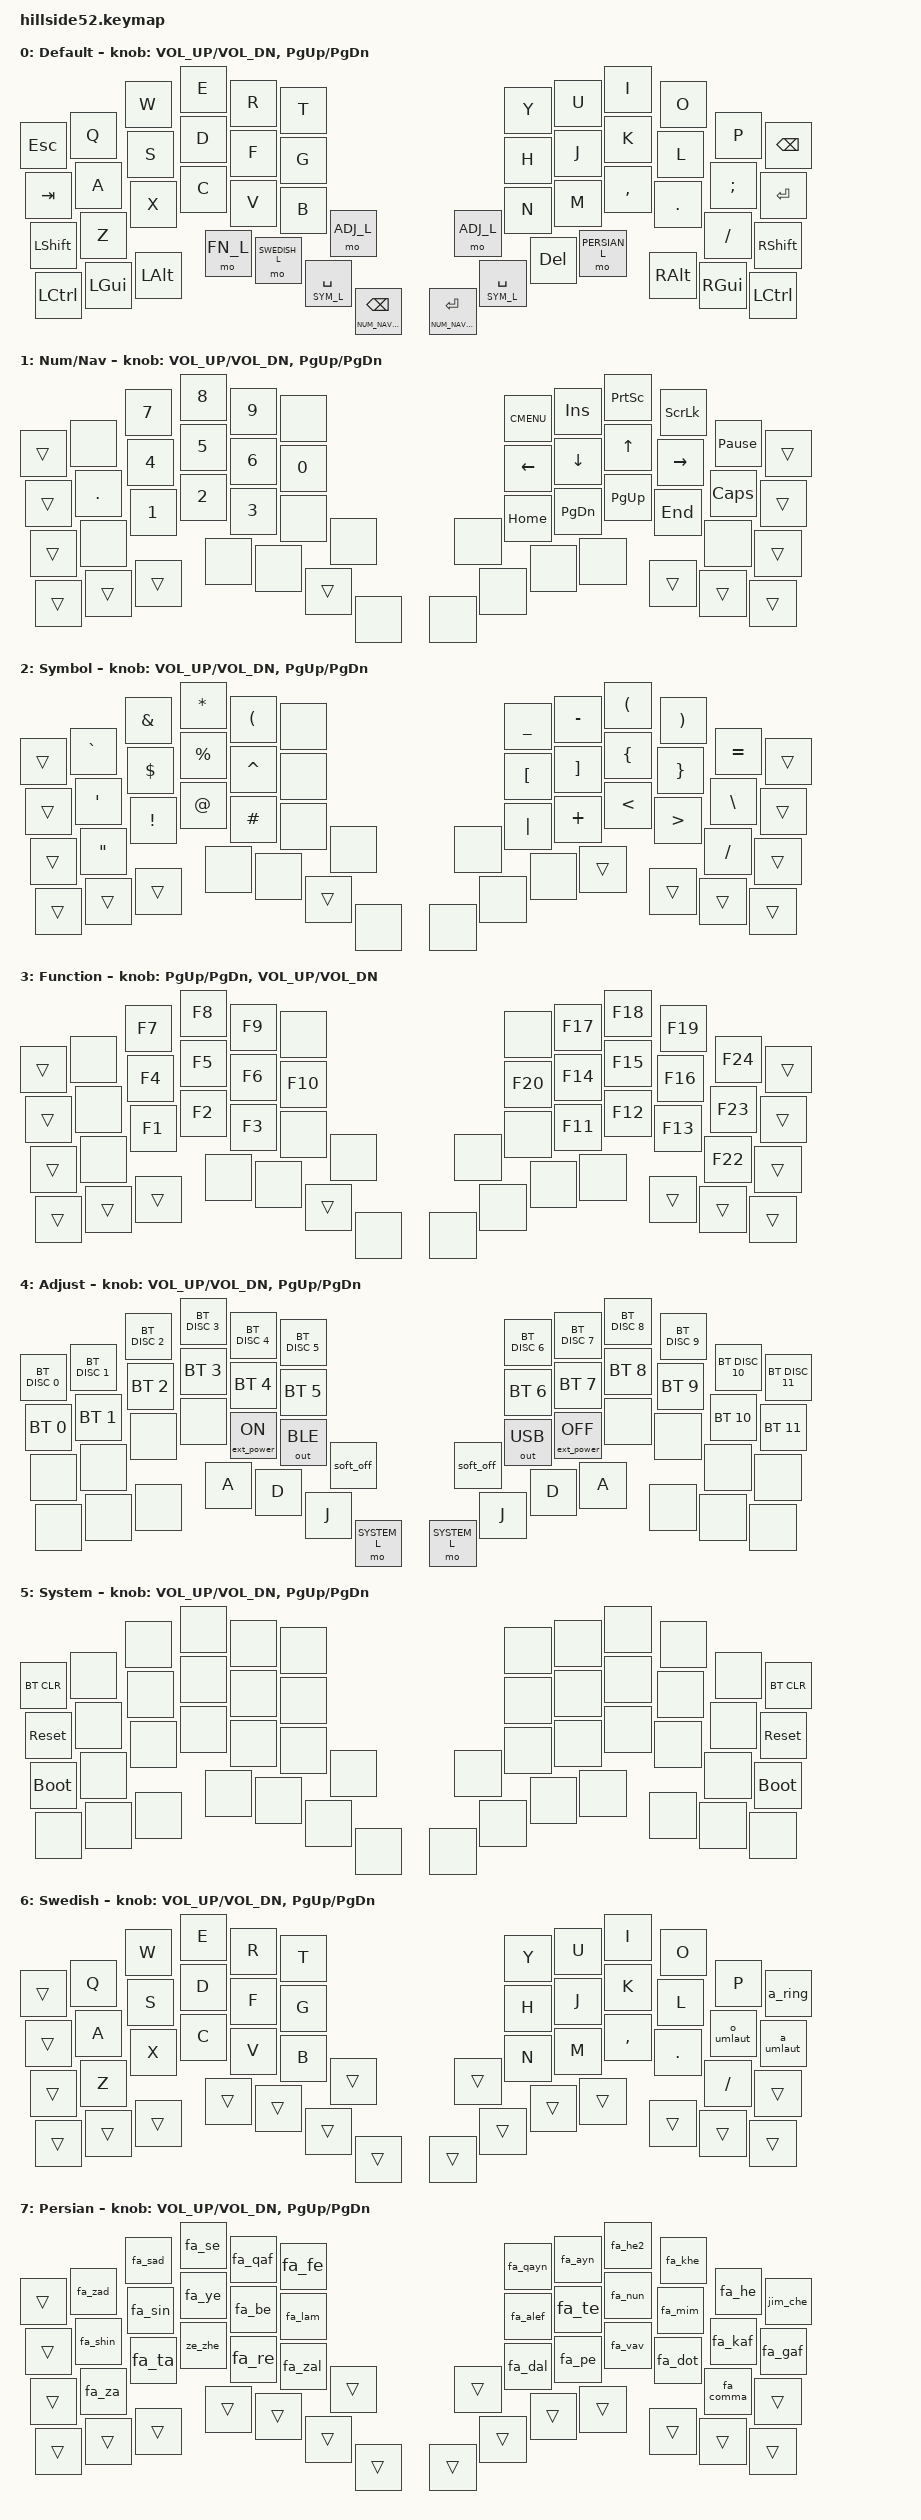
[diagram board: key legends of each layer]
/*
 * Copyright (c) 2021-2022 The ZMK Contributors
 *
 * SPDX-License-Identifier: MIT
 */

#include <behaviors.dtsi>
#include <dt-bindings/zmk/bt.h>
#include <dt-bindings/zmk/ext_power.h>
#include <dt-bindings/zmk/keys.h>
#include <dt-bindings/zmk/outputs.h>
#include <dt-bindings/zmk/backlight.h>
#include <dt-bindings/zmk/rgb.h>

#define DEFAULT_L 0
#define NUM_NAV_L 1
#define SYM_L     2
#define FN_L      3
#define ADJ_L     4
#define SYSTEM_L  5
#define SWEDISH_L 6
#define PERSIAN_L 7

// Define Swedish characters using macros
/ {
    macros {
        a_ring: a_ring {
            compatible = "zmk,behavior-macro";
            #binding-cells = <0>;
            wait-ms = <40>;
            tap-ms = <40>;
            bindings
                = <&macro_press   &kp LALT>
                , <&macro_tap     &kp KP_N0 &kp KP_N2 &kp KP_N2 &kp KP_N9>
                , <&macro_release &kp LALT>
                ;
        };
        a_umlaut: a_umlaut {
            compatible = "zmk,behavior-macro";
            #binding-cells = <0>;
            wait-ms = <40>;
            tap-ms = <40>;
            bindings
                = <&macro_press   &kp LALT>
                , <&macro_tap     &kp KP_N0 &kp KP_N2 &kp KP_N2 &kp KP_N8>
                , <&macro_release &kp LALT>
                ;
        };
        o_umlaut: o_umlaut {
            compatible = "zmk,behavior-macro";
            #binding-cells = <0>;
            wait-ms = <40>;
            tap-ms = <40>;
            bindings
                = <&macro_press   &kp LALT>
                , <&macro_tap     &kp KP_N0 &kp KP_N2 &kp KP_N4 &kp KP_N6>
                , <&macro_release &kp LALT>
                ;
        };

        // Persian characters using macros
        fa_alef: fa_alef {
            compatible = "zmk,behavior-macro";
            #binding-cells = <0>;
            wait-ms = <40>;
            tap-ms = <40>;
            bindings
                = <&macro_press   &kp LALT>
                , <&macro_tap     &kp KP_N1 &kp KP_N5 &kp KP_N7 &kp KP_N5>
                , <&macro_release &kp LALT>
                ;
        };
        fa_be: fa_be {
            compatible = "zmk,behavior-macro";
            #binding-cells = <0>;
            wait-ms = <40>;
            tap-ms = <40>;
            bindings
                = <&macro_press   &kp LALT>
                , <&macro_tap     &kp KP_N1 &kp KP_N5 &kp KP_N7 &kp KP_N6>
                , <&macro_release &kp LALT>
                ;
        };
        fa_pe: fa_pe {
            compatible = "zmk,behavior-macro";
            #binding-cells = <0>;
            wait-ms = <40>;
            tap-ms = <40>;
            bindings
                = <&macro_press   &kp LALT>
                , <&macro_tap     &kp KP_N1 &kp KP_N6 &kp KP_N6 &kp KP_N2>
                , <&macro_release &kp LALT>
                ;
        };
        fa_te: fa_te {
            compatible = "zmk,behavior-macro";
            #binding-cells = <0>;
            wait-ms = <40>;
            tap-ms = <40>;
            bindings
                = <&macro_press   &kp LALT>
                , <&macro_tap     &kp KP_N1 &kp KP_N5 &kp KP_N7 &kp KP_N8>
                , <&macro_release &kp LALT>
                ;
        };
        fa_se: fa_se {
            compatible = "zmk,behavior-macro";
            #binding-cells = <0>;
            wait-ms = <40>;
            tap-ms = <40>;
            bindings
                = <&macro_press   &kp LALT>
                , <&macro_tap     &kp KP_N1 &kp KP_N5 &kp KP_N7 &kp KP_N9>
                , <&macro_release &kp LALT>
                ;
        };
        fa_jim: fa_jim {
            compatible = "zmk,behavior-macro";
            #binding-cells = <0>;
            wait-ms = <40>;
            tap-ms = <40>;
            bindings
                = <&macro_press   &kp LALT>
                , <&macro_tap     &kp KP_N1 &kp KP_N5 &kp KP_N8 &kp KP_N0>
                , <&macro_release &kp LALT>
                ;
        };
        fa_che: fa_che {
            compatible = "zmk,behavior-macro";
            #binding-cells = <0>;
            wait-ms = <40>;
            tap-ms = <40>;
            bindings
                = <&macro_press   &kp LALT>
                , <&macro_tap     &kp KP_N1 &kp KP_N6 &kp KP_N6 &kp KP_N6>
                , <&macro_release &kp LALT>
                ;
        };
        fa_he: fa_he {
            compatible = "zmk,behavior-macro";
            #binding-cells = <0>;
            wait-ms = <40>;
            tap-ms = <40>;
            bindings
                = <&macro_press   &kp LALT>
                , <&macro_tap     &kp KP_N1 &kp KP_N5 &kp KP_N8 &kp KP_N1>
                , <&macro_release &kp LALT>
                ;
        };
        fa_khe: fa_khe {
            compatible = "zmk,behavior-macro";
            #binding-cells = <0>;
            wait-ms = <40>;
            tap-ms = <40>;
            bindings
                = <&macro_press   &kp LALT>
                , <&macro_tap     &kp KP_N1 &kp KP_N5 &kp KP_N8 &kp KP_N2>
                , <&macro_release &kp LALT>
                ;
        };
        fa_dal: fa_dal {
            compatible = "zmk,behavior-macro";
            #binding-cells = <0>;
            wait-ms = <40>;
            tap-ms = <40>;
            bindings
                = <&macro_press   &kp LALT>
                , <&macro_tap     &kp KP_N1 &kp KP_N5 &kp KP_N8 &kp KP_N3>
                , <&macro_release &kp LALT>
                ;
        };
        fa_zal: fa_zal {
            compatible = "zmk,behavior-macro";
            #binding-cells = <0>;
            wait-ms = <40>;
            tap-ms = <40>;
            bindings
                = <&macro_press   &kp LALT>
                , <&macro_tap     &kp KP_N1 &kp KP_N5 &kp KP_N8 &kp KP_N4>
                , <&macro_release &kp LALT>
                ;
        };
        fa_re: fa_re {
            compatible = "zmk,behavior-macro";
            #binding-cells = <0>;
            wait-ms = <40>;
            tap-ms = <40>;
            bindings
                = <&macro_press   &kp LALT>
                , <&macro_tap     &kp KP_N1 &kp KP_N5 &kp KP_N8 &kp KP_N5>
                , <&macro_release &kp LALT>
                ;
        };
        fa_ze: fa_ze {
            compatible = "zmk,behavior-macro";
            #binding-cells = <0>;
            wait-ms = <40>;
            tap-ms = <40>;
            bindings
                = <&macro_press   &kp LALT>
                , <&macro_tap     &kp KP_N1 &kp KP_N5 &kp KP_N8 &kp KP_N6>
                , <&macro_release &kp LALT>
                ;
        };
        fa_zhe: fa_zhe {
            compatible = "zmk,behavior-macro";
            #binding-cells = <0>;
            wait-ms = <40>;
            tap-ms = <40>;
            bindings
                = <&macro_press   &kp LALT>
                , <&macro_tap     &kp KP_N1 &kp KP_N6 &kp KP_N8 &kp KP_N8>
                , <&macro_release &kp LALT>
                ;
        };
        fa_sin: fa_sin {
            compatible = "zmk,behavior-macro";
            #binding-cells = <0>;
            wait-ms = <40>;
            tap-ms = <40>;
            bindings
                = <&macro_press   &kp LALT>
                , <&macro_tap     &kp KP_N1 &kp KP_N5 &kp KP_N8 &kp KP_N7>
                , <&macro_release &kp LALT>
                ;
        };
        fa_shin: fa_shin {
            compatible = "zmk,behavior-macro";
            #binding-cells = <0>;
            wait-ms = <40>;
            tap-ms = <40>;
            bindings
                = <&macro_press   &kp LALT>
                , <&macro_tap     &kp KP_N1 &kp KP_N5 &kp KP_N8 &kp KP_N8>
                , <&macro_release &kp LALT>
                ;
        };
        fa_sad: fa_sad {
            compatible = "zmk,behavior-macro";
            #binding-cells = <0>;
            wait-ms = <40>;
            tap-ms = <40>;
            bindings
                = <&macro_press   &kp LALT>
                , <&macro_tap     &kp KP_N1 &kp KP_N5 &kp KP_N8 &kp KP_N9>
                , <&macro_release &kp LALT>
                ;
        };
        fa_zad: fa_zad {
            compatible = "zmk,behavior-macro";
            #binding-cells = <0>;
            wait-ms = <40>;
            tap-ms = <40>;
            bindings
                = <&macro_press   &kp LALT>
                , <&macro_tap     &kp KP_N1 &kp KP_N5 &kp KP_N9 &kp KP_N0>
                , <&macro_release &kp LALT>
                ;
        };
        fa_ta: fa_ta {
            compatible = "zmk,behavior-macro";
            #binding-cells = <0>;
            wait-ms = <40>;
            tap-ms = <40>;
            bindings
                = <&macro_press   &kp LALT>
                , <&macro_tap     &kp KP_N1 &kp KP_N5 &kp KP_N9 &kp KP_N1>
                , <&macro_release &kp LALT>
                ;
        };
        fa_za: fa_za {
            compatible = "zmk,behavior-macro";
            #binding-cells = <0>;
            wait-ms = <40>;
            tap-ms = <40>;
            bindings
                = <&macro_press   &kp LALT>
                , <&macro_tap     &kp KP_N1 &kp KP_N5 &kp KP_N9 &kp KP_N2>
                , <&macro_release &kp LALT>
                ;
        };
        fa_ayn: fa_ayn {
            compatible = "zmk,behavior-macro";
            #binding-cells = <0>;
            wait-ms = <40>;
            tap-ms = <40>;
            bindings
                = <&macro_press   &kp LALT>
                , <&macro_tap     &kp KP_N1 &kp KP_N5 &kp KP_N9 &kp KP_N3>
                , <&macro_release &kp LALT>
                ;
        };
        fa_qayn: fa_qayn {
            compatible = "zmk,behavior-macro";
            #binding-cells = <0>;
            wait-ms = <40>;
            tap-ms = <40>;
            bindings
                = <&macro_press   &kp LALT>
                , <&macro_tap     &kp KP_N1 &kp KP_N5 &kp KP_N9 &kp KP_N4>
                , <&macro_release &kp LALT>
                ;
        };
        fa_fe: fa_fe {
            compatible = "zmk,behavior-macro";
            #binding-cells = <0>;
            wait-ms = <40>;
            tap-ms = <40>;
            bindings
                = <&macro_press   &kp LALT>
                , <&macro_tap     &kp KP_N1 &kp KP_N6 &kp KP_N0 &kp KP_N1>
                , <&macro_release &kp LALT>
                ;
        };
        fa_qaf: fa_qaf {
            compatible = "zmk,behavior-macro";
            #binding-cells = <0>;
            wait-ms = <40>;
            tap-ms = <40>;
            bindings
                = <&macro_press   &kp LALT>
                , <&macro_tap     &kp KP_N1 &kp KP_N6 &kp KP_N0 &kp KP_N2>
                , <&macro_release &kp LALT>
                ;
        };
        fa_kaf: fa_kaf {
            compatible = "zmk,behavior-macro";
            #binding-cells = <0>;
            wait-ms = <40>;
            tap-ms = <40>;
            bindings
                = <&macro_press   &kp LALT>
                , <&macro_tap     &kp KP_N1 &kp KP_N7 &kp KP_N0 &kp KP_N9>
                , <&macro_release &kp LALT>
                ;
        };
        fa_gaf: fa_gaf {
            compatible = "zmk,behavior-macro";
            #binding-cells = <0>;
            wait-ms = <40>;
            tap-ms = <40>;
            bindings
                = <&macro_press   &kp LALT>
                , <&macro_tap     &kp KP_N1 &kp KP_N7 &kp KP_N1 &kp KP_N1>
                , <&macro_release &kp LALT>
                ;
        };
        fa_lam: fa_lam {
            compatible = "zmk,behavior-macro";
            #binding-cells = <0>;
            wait-ms = <40>;
            tap-ms = <40>;
            bindings
                = <&macro_press   &kp LALT>
                , <&macro_tap     &kp KP_N1 &kp KP_N6 &kp KP_N0 &kp KP_N4>
                , <&macro_release &kp LALT>
                ;
        };
        fa_mim: fa_mim {
            compatible = "zmk,behavior-macro";
            #binding-cells = <0>;
            wait-ms = <40>;
            tap-ms = <40>;
            bindings
                = <&macro_press   &kp LALT>
                , <&macro_tap     &kp KP_N1 &kp KP_N6 &kp KP_N0 &kp KP_N5>
                , <&macro_release &kp LALT>
                ;
        };
        fa_nun: fa_nun {
            compatible = "zmk,behavior-macro";
            #binding-cells = <0>;
            wait-ms = <40>;
            tap-ms = <40>;
            bindings
                = <&macro_press   &kp LALT>
                , <&macro_tap     &kp KP_N1 &kp KP_N6 &kp KP_N0 &kp KP_N6>
                , <&macro_release &kp LALT>
                ;
        };
        fa_vav: fa_vav {
            compatible = "zmk,behavior-macro";
            #binding-cells = <0>;
            wait-ms = <40>;
            tap-ms = <40>;
            bindings
                = <&macro_press   &kp LALT>
                , <&macro_tap     &kp KP_N1 &kp KP_N6 &kp KP_N0 &kp KP_N8>
                , <&macro_release &kp LALT>
                ;
        };
        fa_he2: fa_he2 {
            compatible = "zmk,behavior-macro";
            #binding-cells = <0>;
            wait-ms = <40>;
            tap-ms = <40>;
            bindings
                = <&macro_press   &kp LALT>
                , <&macro_tap     &kp KP_N1 &kp KP_N6 &kp KP_N0 &kp KP_N7>
                , <&macro_release &kp LALT>
                ;
        };
        fa_ye: fa_ye {
            compatible = "zmk,behavior-macro";
            #binding-cells = <0>;
            wait-ms = <40>;
            tap-ms = <40>;
            bindings
                = <&macro_press   &kp LALT>
                , <&macro_tap     &kp KP_N1 &kp KP_N7 &kp KP_N4 &kp KP_N0>
                , <&macro_release &kp LALT>
                ;
        };
        fa_comma: fa_comma {
            compatible = "zmk,behavior-macro";
            #binding-cells = <0>;
            wait-ms = <40>;
            tap-ms = <40>;
            bindings
                = <&macro_press   &kp LALT>
                , <&macro_tap     &kp KP_N1 &kp KP_N5 &kp KP_N4 &kp KP_N8>
                , <&macro_release &kp LALT>
                ;
        };
        fa_dot: fa_dot {
            compatible = "zmk,behavior-macro";
            #binding-cells = <0>;
            wait-ms = <40>;
            tap-ms = <40>;
            bindings
                = <&macro_press   &kp LALT>
                , <&macro_tap     &kp KP_N1 &kp KP_N7 &kp KP_N4 &kp KP_N8>
                , <&macro_release &kp LALT>
                ;
        };
    };

    behaviors {
        jim_che: jim_che {
            compatible = "zmk,behavior-mod-morph";
            #binding-cells = <0>;
            bindings = <&fa_jim>, <&fa_che>;
            mods = <(MOD_LSFT|MOD_RSFT)>;
        };
        ze_zhe: ze_zhe {
            compatible = "zmk,behavior-mod-morph";
            #binding-cells = <0>;
            bindings = <&fa_ze>, <&fa_zhe>;
            mods = <(MOD_LSFT|MOD_RSFT)>;
        };
    };
};

#define Undo   LC(Z)
#define Cut    LC(X)
#define Copy   LC(C)
#define Paste  LC(V)
#define Redo   LC(Y)
// Mute        &kp  C_MUTE   
// `            &kp  GRAVE

/* Empty secondary layer

/* Symbols
 * -------------------------------------------------------------------------------------------------------------------------------------
 * |       |       |       |       |       |       |-----------------------------------|       |       |       |       |       |       |
 * |       |       |       |       |       |       |-----------------------------------|       |       |       |       |       |       |
 * |       |       |       |       |       |       |       |-------------------|   /   |       |       |       |       |       |       |
 * |       |       |       |-------|       |       |       |       |---|       |       |       |       |-------|       |       |       |

                        bindings = <
&trans        &none         &none         &none         &none         &none                                                                          &none         &none         &none         &none         &none         &trans
&trans        &none         &none         &none         &none         &none                                                                          &none         &none         &none         &none         &none         &trans
&trans        &none         &none         &none         &none         &none         &none                                              &none         &none         &none         &none         &none         &none         &trans
&trans        &trans        &trans                      &none         &none         &trans         &none                 &none         &none         &none         &none                       &trans        &trans        &trans
                        >;

*/

/ {
        keymap {
                compatible = "zmk,keymap";

                default_layer {

/* DEFAULT
 * -------------------------------------------------------------------------------------------------------------------------------------
 * | ESC   |   Q   |   W   |   E   |   R   |   T   |-----------------------------------|   Y   |   U   |   I   |   O   |   P   | BKSPC |
 * | TAB   |   A   |   S   |   D   |   F   |   G   |-----------------------------------|   H   |   J   |   K   |   L   |   ;   | ENTER |
 * | SHIFT |   Z   |   X   |   C   |   V   |   B   |  ???  |-------------------|  ???  |   N   |   M   |   ,   |   .   |   /   | SHIFT |
 * | CTRL  |  GUI  |  ALT  |-------|ADJUST |  ???  | SPACE |NUM_NAV|---|SYMBOL |FUNCTON|DELETE |ADJUST |-------|  ALT  |  GUI  | CTRL  |
 */
                        display-name = "Default";
                        bindings = <
&kp  ESC      &kp Q        &kp W        &kp E        &kp R        &kp T                                                                                               &kp  Y              &kp  U            &kp  I        &kp  O        &kp  P        &kp  BSPC
&kp  TAB      &kp A        &kp S        &kp D        &kp F        &kp G                                                                                               &kp  H              &kp  J            &kp  K        &kp  L        &kp  SEMI     &kp  ENTER
&kp  LSHFT    &kp Z        &kp X        &kp C        &kp V        &kp B          &mo ADJ_L                                                        &mo ADJ_L           &kp  N              &kp  M            &kp  COMMA    &kp  DOT      &kp  SLASH    &kp  RSHFT
&kp  LCTRL    &kp LGUI     &kp LALT                  &mo FN_L     &mo SWEDISH_L  &lt SYM_L SPACE  &lt NUM_NAV_L BSPC         &lt NUM_NAV_L ENTER  &lt SYM_L SPACE     &kp DEL             &mo PERSIAN_L                   &kp  RALT     &kp  RGUI     &kp  LCTRL
                        >;
	
                        sensor-bindings = <&inc_dec_kp C_VOL_UP C_VOL_DN &inc_dec_kp PG_UP PG_DN>;
                };
		
                number_layer {
/* Numbers & Navigation
 * -------------------------------------------------------------------------------------------------------------------------------------
 * | trans |       |   7   |   8   |   9   |       |-----------------------------------|K_CMENU|INSERT | PSCRN | SLCK  | PAUSE | trans |
 * | trans |   .   |   4   |   5   |   6   |   0   |-----------------------------------| Left  | Down  |  Up   | Right | CAPS  | trans |
 * | trans |       |   1   |   2   |   3   |       |  ???  |-------------------|  ???  | HOME  | PG DN | PG UP |  END  |       | trans |
 * | trans | trans | trans |-------|       |       | trans |  ???  |---|  ???  |  ???  |  ???  |  ???  |-------| trans | trans | trans |
 */
                        display-name = "Num/Nav";
                        bindings = <
&trans        &none         &kp  N7       &kp  N8       &kp  N9       &none                                                                          &kp K_CMENU   &kp INSERT    &kp PSCRN     &kp SLCK      &kp PAUSE_BREAK &trans
&trans        &kp DOT       &kp  N4       &kp  N5       &kp  N6       &kp  N0                                                                        &kp LEFT      &kp DOWN      &kp UP        &kp RIGHT     &kp CAPS      &trans
&trans        &none         &kp  N1       &kp  N2       &kp  N3       &none         &none                                              &none         &kp HOME      &kp PG_DN     &kp PG_UP     &kp END       &none         &trans
&trans        &trans        &trans                      &none         &none         &trans         &none                 &none         &none         &none         &none                       &trans        &trans        &trans
                        >;
	
                        sensor-bindings = <&inc_dec_kp C_VOL_UP C_VOL_DN &inc_dec_kp PG_UP PG_DN>;
                };
		
                symbol_layer {
/* Symbols
 * -------------------------------------------------------------------------------------------------------------------------------------
 * | trans |   `   |   &   |   *   |   (   |       |-----------------------------------|   _   |   -   |   (   |   )   |   =   | trans |
 * | trans |   '   |   $   |   %   |   ^   |       |-----------------------------------|   [   |   ]   |   {   |   }   |   \   | trans |
 * | trans |   "   |   !   |   @   |   #   |       |       |-------------------|       |   |   |   +   |   <   |   >   |   /   | trans |
 * | trans | trans | trans |-------|       |       | trans |       |---|       |       |       |       |-------| trans | trans | trans |
 */
                        display-name = "Symbol";
                        bindings = <
&trans         &kp GRAVE    &kp AMPS      &kp ASTRK     &kp LPAR      &none                                                                         &kp UNDER     &kp MINUS     &kp LPAR      &kp RPAR      &kp EQUAL     &trans
&trans         &kp SQT      &kp DLLR      &kp PRCNT     &kp CARET     &none                                                                         &kp LBKT      &kp RBKT      &kp LBRC      &kp RBRC      &kp BSLH      &trans
&trans         &kp DQT      &kp EXCL      &kp AT        &kp HASH      &none        &none                                             &none          &kp PIPE      &kp PLUS      &kp LT        &kp GT        &kp FSLH      &trans
&trans         &trans       &trans                      &none         &none        &trans         &none                 &none        &none          &none         &trans                      &trans        &trans        &trans
                        >;
	
                        sensor-bindings = <&inc_dec_kp C_VOL_UP C_VOL_DN &inc_dec_kp PG_UP PG_DN>;
                };

                nav_layer {
/* Functions
 * -------------------------------------------------------------------------------------------------------------------------------------
 * | trans |       |  F7   |  F8   |  F9   |       |-----------------------------------|       |  F17  |  F18  |  F19  |  F24  | trans |
 * | trans |       |  F4   |  F5   |  F6   |  F10  |-----------------------------------|  F20  |  F14  |  F15  |  F16  |  F23  | trans |
 * | trans |       |  F1   |  F2   |  F3   |       |  ???  |-------------------|  ???  |       |  F11  |  F12  |  F13  |  F22  | trans |
 * | trans | trans | trans |-------|       |       | trans |  ???  |---|  ???  |  ???  |  ???  |  ???  |-------| trans | trans | trans |
 */
                        display-name = "Function";
                        bindings = <
&trans        &none         &kp F7        &kp F8        &kp F9        &none                                                                          &none         &kp F17       &kp F18       &kp F19       &kp F24       &trans
&trans        &none         &kp F4        &kp F5        &kp F6        &kp F10                                                                        &kp F20       &kp F14       &kp F15       &kp F16       &kp F23       &trans
&trans        &none         &kp F1        &kp F2        &kp F3        &none         &none                                              &none         &none         &kp F11       &kp F12       &kp F13       &kp F22       &trans
&trans        &trans        &trans                      &none         &none         &trans         &none                 &none         &none         &none         &none                       &trans        &trans        &trans
                        >;
	
                        sensor-bindings = <&inc_dec_kp PG_UP PG_DN &inc_dec_kp C_VOL_UP C_VOL_DN>;
                };



                adj_layer {
/* ADJUST
 * -------------------------------------------------------------------------------------------------------------------------------------
 * |BT_DC0 |BT_DC1 |BT_DC2 |BT_DC3 |BT_DC4 |BT_DC5 |-----------------------------------|BT_DC6 |BT_DC7 |BT_DC8 |BT_DC9 |BT_DC10|BT_DC11|
 * |BT_SL0 |BT_SL1 |BT_SL2 |BT_SL3 |BT_SL4 |BT_SL5 |-----------------------------------|BT_SL6 |BT_SL7 |BT_SL8 |BT_SL9 |BT_SL10|BT_SL11|
 * |       |       |       |       | EP_ON |OUT_BLE|SOFT_OF|-------------------|SOFT_OF|OUT_USB| EP_OFF|       |       |       |       |
 * |       |       |       |-------|   A   |   D   |   J   |SYSTEM |---|SYSTEM |   J   |   D   |   A   |-------|       |       |       |
 */
                        display-name = "Adjust";
                        bindings = <
&bt BT_DISC 0   &bt BT_DISC 1  &bt BT_DISC 2   &bt BT_DISC 3  &bt BT_DISC 4     &bt BT_DISC 5                                                         &bt BT_DISC 6  &bt BT_DISC 7      &bt BT_DISC 8  &bt BT_DISC 9 &bt BT_DISC 10  &bt BT_DISC 11      
&bt BT_SEL 0    &bt BT_SEL 1   &bt BT_SEL 2    &bt BT_SEL 3   &bt BT_SEL 4      &bt BT_SEL 5                                                          &bt BT_SEL 6   &bt BT_SEL 7       &bt BT_SEL 8   &bt BT_SEL 9  &bt BT_SEL 10   &bt BT_SEL 11      
&none           &none          &none           &none          &ext_power EP_ON  &out OUT_BLE   &soft_off                                   &soft_off  &out OUT_USB   &ext_power EP_OFF  &none          &none         &none           &none
&none           &none          &none                          &kp A             &kp D          &kp J      &mo SYSTEM_L     &mo SYSTEM_L    &kp J      &kp D          &kp A                             &none         &none           &none
                        >;

                        sensor-bindings = <&inc_dec_kp C_VOL_UP C_VOL_DN &inc_dec_kp PG_UP PG_DN>;
                };


                bt_layer {
/* SYSTEM
 * -------------------------------------------------------------------------------------------------------------------------------------
 * |BT_CLR |       |       |       |       |       |-----------------------------------|       |       |       |       |       |BT_CLR |
 * |SYS_RST|       |       |       |       |       |-----------------------------------|       |       |       |       |       |SYS_RST|
 * |BOOTLDR|       |       |       |       |       |       |-------------------|       |       |       |       |       |       |BOOTLDR|
 * |       |       |       |-------|       |       |       |       |---|       |       |       |       |-------|       |       |       |
 */
                        display-name = "System";
                        bindings = <
&bt BT_CLR   &none  &none  &none           &none           &none                                       &none             &none           &none  &none  &none        &bt BT_CLR
&sys_reset   &none  &none  &none           &none           &none                                       &none             &none           &none  &none  &none        &sys_reset 
&bootloader  &none  &none  &none           &none           &none           &none                &none  &none             &none           &none  &none  &none        &bootloader
&none        &none  &none                  &none           &none           &none  &none  &none  &none  &none             &none                  &none  &none        &none
                        >;

                        sensor-bindings = <&inc_dec_kp C_VOL_UP C_VOL_DN &inc_dec_kp PG_UP PG_DN>;
                };

                swedish_layer {
/* SWEDISH
 * -------------------------------------------------------------------------------------------------------------------------------------
 * | trans |   Q   |   W   |   E   |   R   |   T   |-----------------------------------|   Y   |   U   |   I   |   O   |   P   |   Å   |
 * | trans |   A   |   S   |   D   |   F   |   G   |-----------------------------------|   H   |   J   |   K   |   L   |   Ö   |   Ä   |
 * | trans |   Z   |   X   |   C   |   V   |   B   |  ???  |-------------------|  ???  |   N   |   M   |   ,   |   .   |   /   | trans |
 * | trans | trans | trans |-------|       |       | trans |  ???  |---|  ???  |  ???  |  ???  |  ???  |-------| trans | trans | trans |
 */
                        display-name = "Swedish";
                        bindings = <
&trans        &kp  Q        &kp  W        &kp  E        &kp  R        &kp  T                                                                          &kp  Y        &kp  U        &kp  I        &kp  O        &kp  P        &a_ring
&trans        &kp  A        &kp  S        &kp  D        &kp  F        &kp  G                                                                          &kp  H        &kp  J        &kp  K        &kp  L        &o_umlaut     &a_umlaut
&trans        &kp  Z        &kp  X        &kp  C        &kp  V        &kp  B        &trans                                             &trans         &kp  N        &kp  M        &kp  COMMA    &kp  DOT      &kp  SLASH    &trans
&trans        &trans        &trans                      &trans        &trans        &trans        &trans                &trans         &trans         &trans        &trans                      &trans        &trans        &trans
                        >;
                        
                        sensor-bindings = <&inc_dec_kp C_VOL_UP C_VOL_DN &inc_dec_kp PG_UP PG_DN>;
                };

                persian_layer {
/* PERSIAN
 * -------------------------------------------------------------------------------------------------------------------------------------
 * | trans |   چ/ج  |   ح   |   خ   |   ه   |   ع   |-----------------------------------|   غ   |   ف   |   ق   |   ث   |   ص   |   ض   |
 * | trans |   گ   |   ک   |   م   |   ن   |   ت   |-----------------------------------|   ا   |   ل   |   ب   |   ی   |   س   |   ش   |
 * | trans |  ،    |   .   |   و   |   پ   |   د   |  ???  |-------------------|  ???  |   ذ   |   ر   |  ژ/ز  |   ط   |   ظ   | trans |
 * | trans | trans | trans |-------|       |       | trans |  ???  |---|  ???  |  ???  |  ???  |  ???  |-------| trans | trans | trans |
 */
                        display-name = "Persian";
                        bindings = <
&trans        &fa_zad       &fa_sad       &fa_se        &fa_qaf       &fa_fe                                                                           &fa_qayn      &fa_ayn       &fa_he2       &fa_khe       &fa_he        &jim_che
&trans        &fa_shin      &fa_sin       &fa_ye        &fa_be        &fa_lam                                                                          &fa_alef      &fa_te        &fa_nun       &fa_mim       &fa_kaf       &fa_gaf
&trans        &fa_za        &fa_ta        &ze_zhe       &fa_re        &fa_zal       &trans                                             &trans          &fa_dal       &fa_pe        &fa_vav       &fa_dot       &fa_comma     &trans
&trans        &trans        &trans                      &trans        &trans        &trans        &trans                &trans         &trans          &trans        &trans                      &trans        &trans        &trans
                        >;
                        
                        sensor-bindings = <&inc_dec_kp C_VOL_UP C_VOL_DN &inc_dec_kp PG_UP PG_DN>;
                };


        };
};
